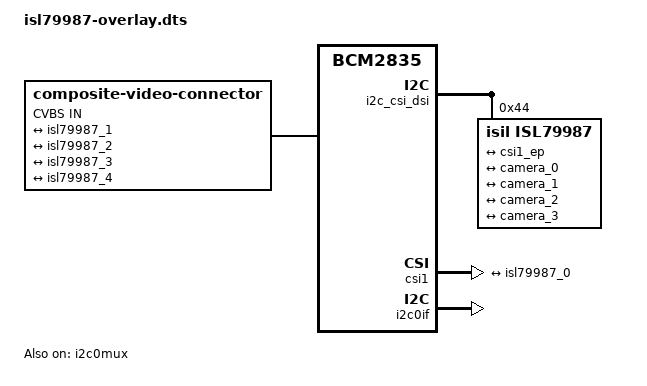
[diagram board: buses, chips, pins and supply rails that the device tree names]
// SPDX-License-Identifier: GPL-2.0-only
// Definitions for ISL79987 video decoder module on I2C
/dts-v1/;
/plugin/;

/{
	compatible = "brcm,bcm2835";

	cvbs-in {
		compatible = "composite-video-connector";
		label = "CVBS IN";
		ports {
			port@0{
				camera_0: endpoint {
					remote-endpoint = <&isl79987_1>;
				};
			};
			port@1{
				camera_1: endpoint {
					remote-endpoint = <&isl79987_2>;
				};
			};
			port@2{
				camera_2: endpoint {
					remote-endpoint = <&isl79987_3>;
				};
			};
			port@3{
				camera_3: endpoint {
					remote-endpoint = <&isl79987_4>;
				};
			};
		};
	};

	i2c_frag: fragment@0 {
		target = <&i2c_csi_dsi>;
		__overlay__ {
			#address-cells = <1>;
			#size-cells = <0>;
			status = "okay";

			isl79987: isl79987@44 {
				compatible = "isil,isl79987";
				reg = <0x44>;
				status = "okay";

				ports {
					#address-cells = <1>;
					#size-cells = <0>;
					port@0 {
						reg = <0>;
						isl79987_0: endpoint {
							remote-endpoint = <&csi1_ep>;
							clock-lanes = <0>;
							data-lanes = <1 2>;
						};
					};
					port@1 {
						reg = <1>;
						isl79987_1: endpoint {
							remote-endpoint = <&camera_0>;
						};
					};
					port@2 {
						reg = <2>;
						isl79987_2: endpoint {
							remote-endpoint = <&camera_1>;
						};
					};
					port@3 {
						reg = <3>;
						isl79987_3: endpoint {
							remote-endpoint = <&camera_2>;
						};
					};
					port@4 {
						reg = <4>;
						isl79987_4: endpoint {
							remote-endpoint = <&camera_3>;
						};
					};
				};
			};
		};
	};

	csi_frag: fragment@1 {
		target = <&csi1>;
		csi: __overlay__ {
			status = "okay";
			brcm,media-controller;

			port {
				csi1_ep: endpoint {
					remote-endpoint = <&isl79987_0>;
					data-lanes = <1 2>;
				};
			};
		};
	};

	fragment@2 {
		target = <&i2c0if>;
		__overlay__ {
			status = "okay";
		};
	};

	fragment@3 {
		target = <&i2c0mux>;
		__overlay__ {
			status = "okay";
		};
	};
    
	__overrides__ {
		addr =			<&isl79987>,"reg:0";
		media-controller = <&csi>,"brcm,media-controller?";
	};
};
